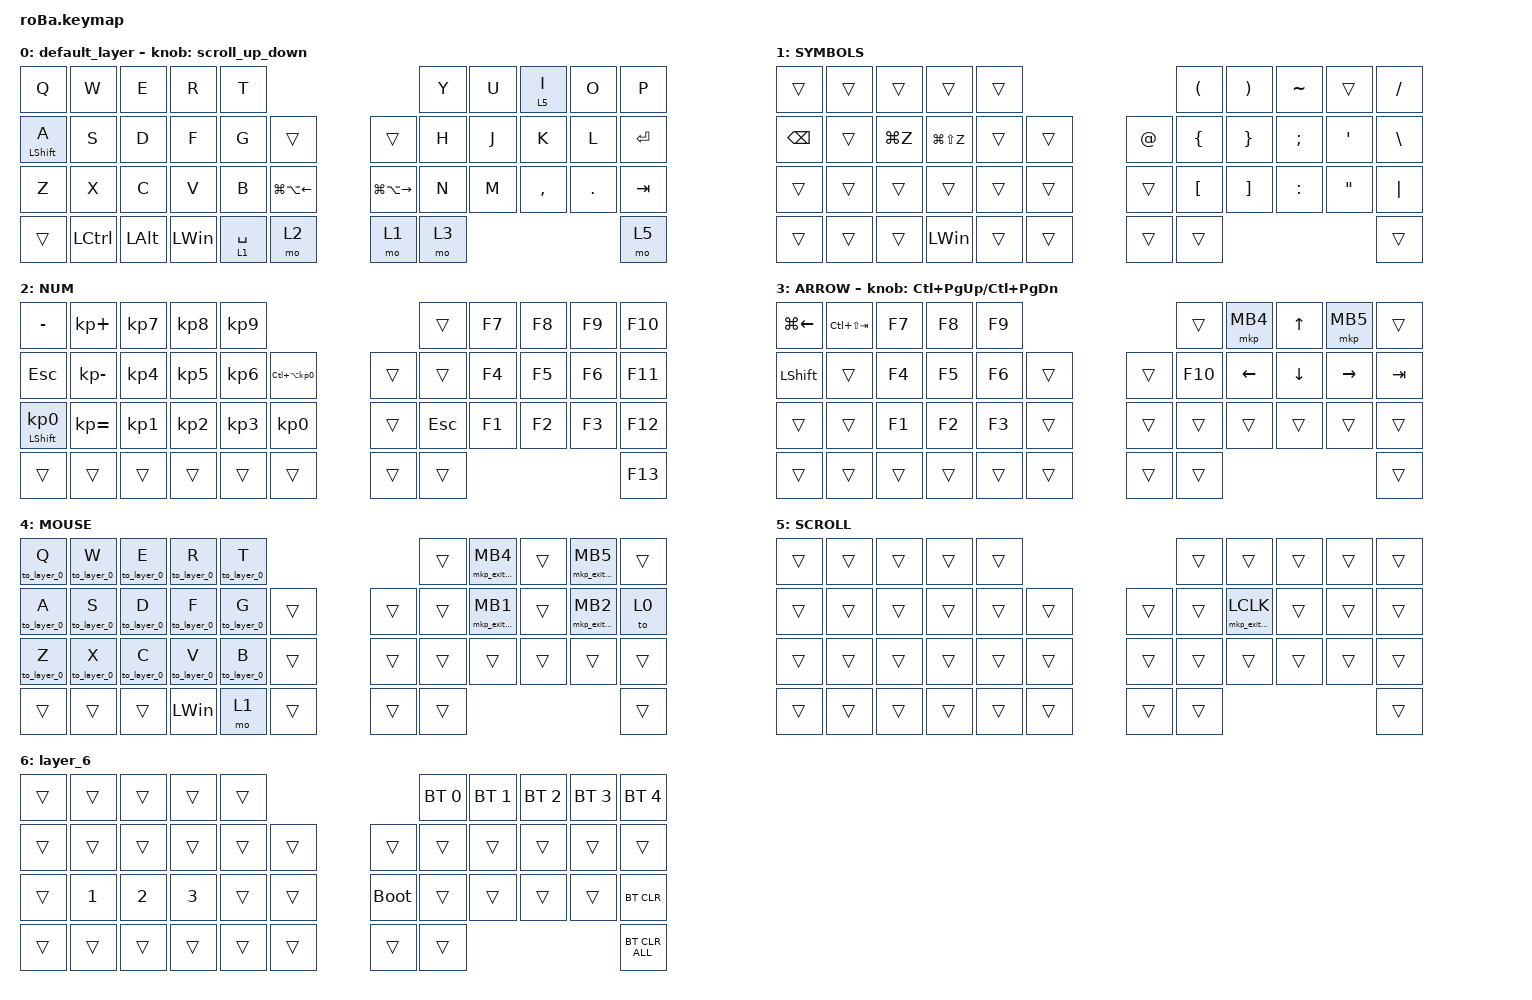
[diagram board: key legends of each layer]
#include <behaviors.dtsi>
#include <dt-bindings/zmk/bt.h>
#include <dt-bindings/zmk/keys.h>
#include <dt-bindings/zmk/pointing.h>

#define ZMK_POINTING_DEFAULT_SCRL_VAL 100
#define MOUSE 4
#define SCROLL 5
#define NUM 6

&mt {
    flavor = "hold-preferred";
    quick-tap-ms = <0>;
};

&sl { release-after-ms = <250>; };

/ {
    combos {
        compatible = "zmk,combos";

        BT0 {
            bindings = <&bt BT_SEL 0>;
            key-positions = <28 22>;
            layers = <6>;
        };

        BT1 {
            bindings = <&bt BT_SEL 1>;
            key-positions = <28 23>;
            layers = <6>;
        };

        BT2 {
            bindings = <&bt BT_SEL 2>;
            key-positions = <28 24>;
            layers = <6>;
        };

        BT3 {
            bindings = <&none>;
            key-positions = <28 25>;
            layers = <6>;
        };

        switch_en {
            bindings = <&f10_and_eisu>;
            key-positions = <11 12>;
        };

        switch_ja {
            bindings = <&kp LANG_HANGEUL>;
            key-positions = <12 13>;
        };

        combo_exclamation {
            bindings = <&kp EXCL>;
            key-positions = <21 20>;
        };

        combo_question {
            bindings = <&kp QUESTION>;
            key-positions = <20 19>;
        };

        combo_at {
            bindings = <&kp AT>;
            key-positions = <18 19>;
        };

        combo_openPaste {
            bindings = <&kp LS(LG(V))>;
            key-positions = <25 24>;
        };

        combo_spotlight {
            bindings = <&kp LG(SPACE)>;
            key-positions = <3 2>;
        };

        combo_backspace {
            bindings = <&kp BACKSPACE>;
            key-positions = <10 11>;
        };

        combo_esc {
            bindings = <&kp ESCAPE>;
            key-positions = <1 2>;
        };

        combo_minus {
            bindings = <&kp MINUS>;
            key-positions = <8 7>;
        };

        combo_prev {
            bindings = <&kp LG(Z)>;
            key-positions = <22 23>;
        };

        combo_next {
            bindings = <&kp LG(LS(Z))>;
            key-positions = <23 24>;
        };

        combo_mission-control {
            bindings = <&kp LC(UP_ARROW)>;
            key-positions = <14 13>;
        };

        combo_cmd-enter {
            bindings = <&kp LG(ENTER)>;
            key-positions = <17 18>;
        };

        combo_cap3 {
            bindings = <&kp LG(LS(NUMBER_3))>;
            key-positions = <30 31>;
        };

        combo_cap4 {
            bindings = <&kp LG(LS(NUMBER_4))>;
            key-positions = <31 32>;
        };

        combo_cap5 {
            bindings = <&kp LG(LS(N5))>;
            key-positions = <33 32>;
        };
    };

    macros {
        to_layer_0: to_layer_0 {
            compatible = "zmk,behavior-macro-one-param";
            #binding-cells = <1>;
            bindings = <&to 0 &macro_param_1to1 &kp MACRO_PLACEHOLDER>;
            label = "TO_LAYER_0";
        };

        mkp_exit_AML: mkp_exit_AML {
            compatible = "zmk,behavior-macro-one-param";
            #binding-cells = <1>;
            bindings =
                <&macro_press>,
                <&macro_param_1to1 &mkp MACRO_PLACEHOLDER>,
                <&macro_pause_for_release>,
                <&macro_release>,
                <&macro_param_1to1 &mkp MACRO_PLACEHOLDER>,
                <&macro_tap>,
                <&sl 4>;

            label = "MKP_EXIT_AML";
        };

        parenthesis: parenthesis {
            compatible = "zmk,behavior-macro";
            #binding-cells = <0>;
            bindings = <&kp LANG_HANJA &kp LEFT_PARENTHESIS &kp RIGHT_PARENTHESIS &kp LEFT_ARROW>;
            label = "parenthesis";
        };

        f10_and_eisu: f10_and_eisu {
            compatible = "zmk,behavior-macro";
            #binding-cells = <0>;
            bindings = <&kp F10 &kp LANG_HANJA>;
            label = "F10_AND_EISU";
        };
    };

    behaviors {
        scroll_up_down: behavior_sensor_rotate_mouse_wheel_up_down {
            compatible = "zmk,behavior-sensor-rotate";
            #sensor-binding-cells = <0>;
            bindings = <&msc SCRL_DOWN>, <&msc SCRL_UP>;

            // 追加: スクロールのタップ時間を設定 (20ms)

            tap-ms = <20>;
        };

        multi_tap_tab_bspc: behavior_multi_tap {
            label = "MT_TAB_BSPC";
            #binding-cells = <0>;
            bindings = <&kp TAB>, <&kp BSPC>;

            max-taps = <2>;
            max-tap-interrupt-ms = <250>;
        };
    };

    keymap {
        compatible = "zmk,keymap";

        default_layer {
            bindings = <
&kp Q             &kp W             &kp E         &kp R         &kp T                                                       &kp Y  &kp U  &lt 5 I    &kp O    &kp P
&mt LEFT_SHIFT A  &kp S             &kp D         &kp F         &kp G        &trans                      &trans             &kp H  &kp J  &kp K      &kp L    &kp ENTER
&kp Z             &kp X             &kp C         &kp V         &kp B        &kp LG(LA(LEFT_ARROW))      &kp LG(LA(RIGHT))  &kp N  &kp M  &kp COMMA  &kp DOT  &kp TAB
&trans            &kp LEFT_CONTROL  &kp LEFT_ALT  &kp LEFT_WIN  &lt 1 SPACE  &mo 2                       &mo 1              &mo 3                             &mo 5
            >;

            sensor-bindings = <&scroll_up_down>;
        };

        SYMBOLS {
            bindings = <
&trans         &trans  &trans     &trans         &trans                      &kp LEFT_PARENTHESIS  &kp RIGHT_PARENTHESIS  &kp TILDE      &trans             &kp SLASH
&kp BACKSPACE  &trans  &kp LG(Z)  &kp LG(LS(Z))  &trans  &trans      &kp AT  &kp LEFT_BRACE        &kp RIGHT_BRACE        &kp SEMICOLON  &kp SINGLE_QUOTE   &kp BACKSLASH
&trans         &trans  &trans     &trans         &trans  &trans      &trans  &kp LEFT_BRACKET      &kp RIGHT_BRACKET      &kp COLON      &kp DOUBLE_QUOTES  &kp PIPE
&trans         &trans  &trans     &kp LEFT_WIN   &trans  &trans      &trans  &trans                                                                         &trans
            >;
        };

        NUM {
            bindings = <
&kp MINUS                   &kp KP_PLUS   &kp KP_NUMBER_7  &kp KP_NUMBER_8  &kp KP_NUMBER_9                                       &trans      &kp F7  &kp F8  &kp F9  &kp F10
&kp ESC                     &kp KP_MINUS  &kp KP_NUMBER_4  &kp KP_NUMBER_5  &kp KP_NUMBER_6  &kp LC(LA(KP_NUMBER_0))      &trans  &trans      &kp F4  &kp F5  &kp F6  &kp F11
&mt LEFT_SHIFT KP_NUMBER_0  &kp KP_EQUAL  &kp KP_NUMBER_1  &kp KP_NUMBER_2  &kp KP_NUMBER_3  &kp KP_NUMBER_0              &trans  &kp ESCAPE  &kp F1  &kp F2  &kp F3  &kp F12
&trans                      &trans        &trans           &trans           &trans           &trans                       &trans  &trans                              &kp F13
            >;
        };

        ARROW {
            bindings = <
&kp LG(LEFT_ARROW)  &kp LC(LS(TAB))  &kp F7  &kp F8  &kp F9                      &trans   &mkp MB4        &kp UP_ARROW    &mkp MB5         &trans
&kp LEFT_SHIFT      &trans           &kp F4  &kp F5  &kp F6  &trans      &trans  &kp F10  &kp LEFT_ARROW  &kp DOWN_ARROW  &kp RIGHT_ARROW  &kp TAB
&trans              &trans           &kp F1  &kp F2  &kp F3  &trans      &trans  &trans   &trans          &trans          &trans           &trans
&trans              &trans           &trans  &trans  &trans  &trans      &trans  &trans                                                    &trans
            >;

            sensor-bindings = <&inc_dec_kp LC(PAGE_UP) LC(PAGE_DOWN)>;
        };

        MOUSE {
            bindings = <
&to_layer_0 Q  &to_layer_0 W  &to_layer_0 E  &to_layer_0 R  &to_layer_0 T                      &trans  &mkp_exit_AML MB4  &trans  &mkp_exit_AML MB5  &trans
&to_layer_0 A  &to_layer_0 S  &to_layer_0 D  &to_layer_0 F  &to_layer_0 G  &trans      &trans  &trans  &mkp_exit_AML MB1  &trans  &mkp_exit_AML MB2  &to 0
&to_layer_0 Z  &to_layer_0 X  &to_layer_0 C  &to_layer_0 V  &to_layer_0 B  &trans      &trans  &trans  &trans             &trans  &trans             &trans
&trans         &trans         &trans         &kp LEFT_WIN   &mo 1          &trans      &trans  &trans                                                &trans
            >;
        };

        SCROLL {
            bindings = <
&trans  &trans  &trans  &trans  &trans                      &trans  &trans              &trans  &trans  &trans
&trans  &trans  &trans  &trans  &trans  &trans      &trans  &trans  &mkp_exit_AML LCLK  &trans  &trans  &trans
&trans  &trans  &trans  &trans  &trans  &trans      &trans  &trans  &trans              &trans  &trans  &trans
&trans  &trans  &trans  &trans  &trans  &trans      &trans  &trans                                      &trans
            >;
        };

        layer_6 {
            bindings = <
&trans  &trans        &trans        &trans        &trans                           &bt BT_SEL 0  &bt BT_SEL 1  &bt BT_SEL 2  &bt BT_SEL 3  &bt BT_SEL 4
&trans  &trans        &trans        &trans        &trans  &trans      &trans       &trans        &trans        &trans        &trans        &trans
&trans  &kp NUMBER_1  &kp NUMBER_2  &kp NUMBER_3  &trans  &trans      &bootloader  &trans        &trans        &trans        &trans        &bt BT_CLR
&trans  &trans        &trans        &trans        &trans  &trans      &trans       &trans                                                  &bt BT_CLR_ALL
            >;
        };
    };
};
